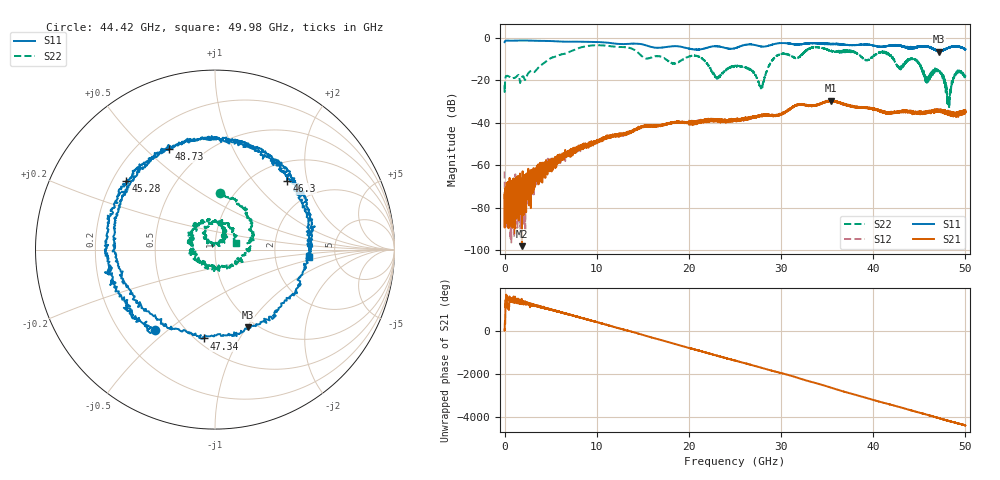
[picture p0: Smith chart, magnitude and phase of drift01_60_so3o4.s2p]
!Created with skrf (http://scikit-rf.org).
# Hz S RI R 50.0
!freq ReS11 ImS11 ReS21 ImS21 ReS12 ImS12 ReS22 ImS22
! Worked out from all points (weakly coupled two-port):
!   10001 points, 300 kHz to 50 GHz, reference 50 ohm
!   highest |S21| = -29.59 dB at 35.43 GHz (marker M1); lowest = -98.1 dB at 1.88 GHz (marker M2)
!   lowest |S11| = -6.6 dB at 47.14 GHz (marker M3), VSWR 2.77, Z = 45.7 - j50.7 ohm
!   |S11| at or under -10 dB: nowhere
!   |S22| runs from -33.1 to -3.6 dB; largest |S21 - S12| = 0.0036
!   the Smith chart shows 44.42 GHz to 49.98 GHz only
!   S11 on the Smith chart (normalised r, x): 44.42 GHz: 0.35, -0.45; 45.28 GHz: 0.26, +0.32; 46.3 GHz: 1.37, +1.51; 47.34 GHz: 0.55, -0.72; 48.73 GHz: 0.33, +0.59; 49.98 GHz: 3.17, -0.36
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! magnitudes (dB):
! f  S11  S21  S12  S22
! 300 kHz  -2.1  -74.0  -62.9  -22.2
! 255.3 MHz  -1.4  -71.1  -72.3  -18.0
! 1.88 GHz  -1.4  -98.1  -76.2  -18.7
! 8.335 GHz  -1.9  -52.1  -51.7  -4.5
! 16.67 GHz  -4.8  -41.2  -41.5  -8.7
! 20.97 GHz  -5.7  -39.2  -39.6  -8.8
! 23.07 GHz  -4.1  -38.9  -39.1  -19.2
! 25 GHz  -5.0  -39.0  -39.0  -13.6
! 27.86 GHz  -4.2  -36.4  -36.6  -23.1
! 29.44 GHz  -2.9  -36.7  -36.5  -8.9
! 33.34 GHz  -2.6  -32.0  -31.9  -4.7
! 35.43 GHz  -3.2  -29.6  -29.7  -6.2
! 41.67 GHz  -3.8  -35.4  -35.3  -8.1
! 44.42 GHz  -5.1  -34.9  -35.3  -10.1
! 45.28 GHz  -4.1  -35.4  -35.3  -14.6
! 46.3 GHz  -5.1  -34.8  -35.0  -17.3
! 47.14 GHz  -6.6  -34.3  -34.2  -16.0
! 47.34 GHz  -6.0  -34.3  -34.6  -16.7
! 48.19 GHz  -4.7  -34.8  -35.7  -28.9
! 48.73 GHz  -4.2  -35.4  -35.6  -19.0
! 49.98 GHz  -5.6  -34.0  -34.6  -18.0
! 50 GHz  -5.6  -35.0  -34.8  -18.4
